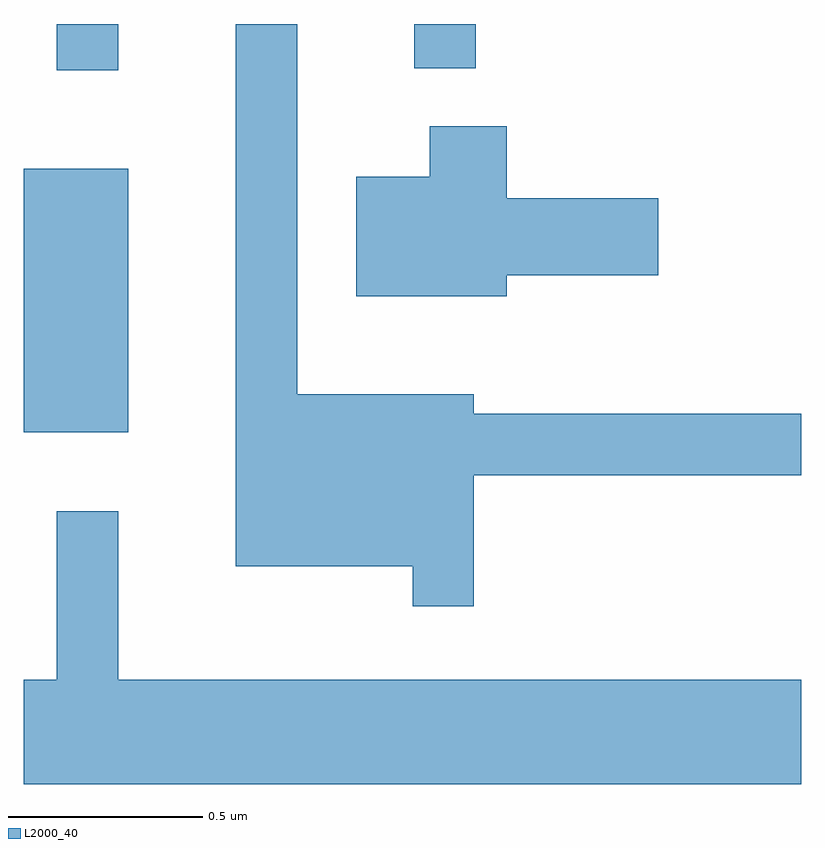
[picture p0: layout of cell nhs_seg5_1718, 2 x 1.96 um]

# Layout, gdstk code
import gdstk
lib = gdstk.Library(unit=1e-6, precision=1e-09)
def R(c, l, rs):  # rectangles x0, y0, x1, y1
    for r in rs: c.add(gdstk.rectangle(r[:2], r[2:], *l))
def P(c, l, *ps):  # polygons
    for p in ps: c.add(gdstk.Polygon(p, *l))
L2000_40 = (2000, 40)

nhs_seg5_1718 = lib.new_cell('nhs_seg5_1718')
R(nhs_seg5_1718, L2000_40, [(197.611,1471.021,197.879,1471.699), (197.696,1471.953,197.854,1472.072), (198.616,1471.958,198.774,1472.072)])
P(nhs_seg5_1718, L2000_40, [(198.769,1470.911),(199.611,1470.911),(199.611,1471.069),(198.769,1471.069),(198.769,1471.119),(198.314,1471.119),(198.314,1472.072),(198.156,1472.072),(198.156,1470.676),(198.611,1470.676),(198.611,1470.573),(198.769,1470.573)],
  [(198.854,1471.426),(199.244,1471.426),(199.244,1471.624),(198.854,1471.624),(198.854,1471.809),(198.656,1471.809),(198.656,1471.679),(198.466,1471.679),(198.466,1471.371),(198.854,1471.371)],
  [(199.611,1470.384),(197.854,1470.384),(197.854,1470.818),(197.696,1470.818),(197.696,1470.384),(197.611,1470.384),(197.611,1470.116),(199.611,1470.116)])

lib.write_gds('nhs_seg5_1718.gds')
